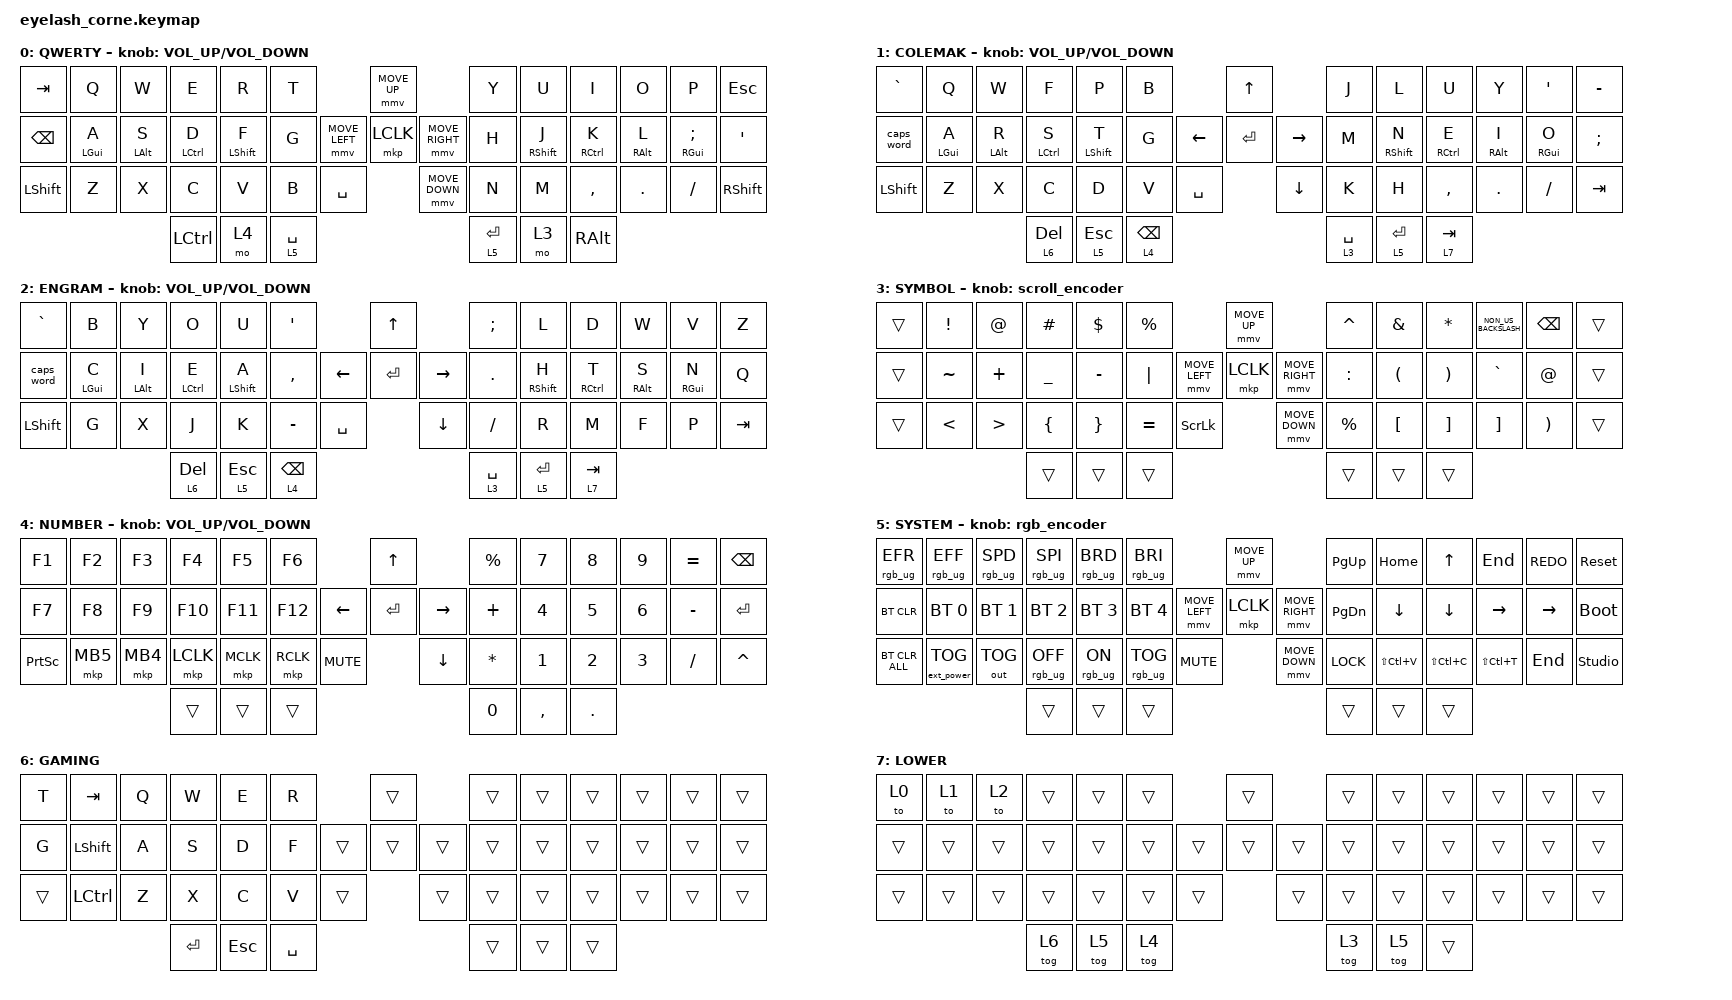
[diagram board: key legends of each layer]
#include <dt-bindings/zmk/mouse.h>
#include <input/processors.dtsi>
#include <behaviors.dtsi>
#include <dt-bindings/zmk/bt.h>
#include <dt-bindings/zmk/ext_power.h>
#include <dt-bindings/zmk/keys.h>
#include <dt-bindings/zmk/outputs.h>
#include <dt-bindings/zmk/pointing.h>
#include <dt-bindings/zmk/rgb.h>

/*

   &mmv_input_listener {
       input-processors = <&zip_xy_scaler 2 1>;
   };

   &msc_input_listener {
       input-processors = <&zip_xy_scaler 2 1>;
   };

 */

#define ZMK_MOUSE_DEFAULT_MOVE_VAL 1200  // 600
#define ZMK_MOUSE_DEFAULT_SCRL_VAL 20    // 10

/ {
    behaviors {
        td0: td0 {
            compatible = "zmk,behavior-tap-dance";
            display-name = "Shift/Caps Lock Tap Dance";
            #binding-cells = <0>;
            bindings = <&kp LEFT_SHIFT>, <&kp CAPS>;
        };

        hrm_left: hrm_left {
            compatible = "zmk,behavior-hold-tap";
            label = "HRM_LEFT";
            bindings = <&kp>, <&kp>;

            #binding-cells = <2>;
            flavor = "balanced";
            tapping-term-ms = <280>;
            quick-tap-ms = <175>;
            require-prior-idle-ms = <150>;
            hold-trigger-on-release;
            hold-trigger-key-positions = <6 7 20 21 22 35 36 45 46 47 8 9 10 11 12 23 24 25 26 27 37 38 39 40 41 19 34 44 43 42>;
        };

        hrm_right: hrm_right {
            compatible = "zmk,behavior-hold-tap";
            label = "HRM_RIGHT";
            bindings = <&kp>, <&kp>;

            #binding-cells = <2>;
            flavor = "balanced";
            tapping-term-ms = <280>;
            quick-tap-ms = <175>;
            require-prior-idle-ms = <150>;
            hold-trigger-on-release;
            hold-trigger-key-positions = <0 1 2 3 4 5 13 14 15 16 17 18 28 29 30 31 32 33 34 42 43 44 19 20 21 35 6 45 46 47>;
        };

        layer_tap: layer_tap {
            compatible = "zmk,behavior-hold-tap";
            label = "LAYER_TAP";
            bindings = <&mo>, <&kp>;

            #binding-cells = <2>;
            quick-tap-ms = <175>;
            flavor = "tap-preferred";
            tapping-term-ms = <280>;
        };
    };

    rgb_encoder: rgb_encoder {
        compatible = "zmk,behavior-sensor-rotate";
        #sensor-binding-cells = <0>;
        bindings = <&rgb_ug RGB_BRI>, <&rgb_ug RGB_BRD>;
    };

    scroll_encoder: scroll_encoder {
        compatible = "zmk,behavior-sensor-rotate";
        #sensor-binding-cells = <0>;
        bindings = <&msc SCRL_DOWN>, <&msc SCRL_UP>;

        tap-ms = <30>;
    };

    keymap {
        compatible = "zmk,keymap";

        qwerty {
            display-name = "QWERTY";
            bindings = <
&kp TAB         &kp Q             &kp W             &kp E              &kp R              &kp T                                            &mmv MOVE_UP                     &kp Y               &kp U               &kp I               &kp O              &kp P                 &kp ESCAPE
&kp BACKSPACE   &hrm_left LGUI A  &hrm_left LALT S  &hrm_left LCTRL D  &hrm_left LSHFT F  &kp G                            &mmv MOVE_LEFT  &mkp LCLK       &mmv MOVE_RIGHT  &kp H               &hrm_right RSHFT J  &hrm_right RCTRL K  &hrm_right RALT L  &hrm_right RGUI SEMI  &kp SQT
&kp LEFT_SHIFT  &kp Z             &kp X             &kp C              &kp V              &kp B               &kp SPACE                    &mmv MOVE_DOWN                   &kp N               &kp M               &kp COMMA           &kp DOT            &kp FSLH              &kp RIGHT_SHIFT
                                                    &kp LEFT_CONTROL   &mo 4              &layer_tap 5 SPACE                                                                &layer_tap 5 ENTER  &mo 3               &kp RIGHT_ALT
            >;

            sensor-bindings = <&inc_dec_kp C_VOLUME_UP C_VOLUME_DOWN>;
        };

        colemak {
            display-name = "COLEMAK";
            bindings = <
&kp GRAVE       &kp Q             &kp W             &kp F                &kp P              &kp B                                          &kp UP                &kp J               &kp L               &kp U               &kp Y              &kp APOS           &kp MINUS
&caps_word      &hrm_left LGUI A  &hrm_left LALT R  &hrm_left LCTRL S    &hrm_left LSHFT T  &kp G                                &kp LEFT  &kp ENTER  &kp RIGHT  &kp M               &hrm_right RSHFT N  &hrm_right RCTRL E  &hrm_right RALT I  &hrm_right RGUI O  &kp SEMI
&kp LEFT_SHIFT  &kp Z             &kp X             &kp C                &kp D              &kp V                   &kp SPACE              &kp DOWN              &kp K               &kp H               &kp COMMA           &kp DOT            &kp FSLH           &kp TAB
                                                    &layer_tap 6 DELETE  &layer_tap 5 ESC   &layer_tap 4 BACKSPACE                                               &layer_tap 3 SPACE  &layer_tap 5 ENTER  &layer_tap 7 TAB
            >;

            sensor-bindings = <&inc_dec_kp C_VOLUME_UP C_VOLUME_DOWN>;
        };

        engram {
            display-name = "ENGRAM";
            bindings = <
&kp GRAVE       &kp B             &kp Y             &kp O                &kp U              &kp APOS                                       &kp UP                &kp SEMI            &kp L               &kp D               &kp W              &kp V              &kp Z
&caps_word      &hrm_left LGUI C  &hrm_left LALT I  &hrm_left LCTRL E    &hrm_left LSHFT A  &kp COMMA                            &kp LEFT  &kp ENTER  &kp RIGHT  &kp DOT             &hrm_right RSHFT H  &hrm_right RCTRL T  &hrm_right RALT S  &hrm_right RGUI N  &kp Q
&kp LEFT_SHIFT  &kp G             &kp X             &kp J                &kp K              &kp MINUS               &kp SPACE              &kp DOWN              &kp FSLH            &kp R               &kp M               &kp F              &kp P              &kp TAB
                                                    &layer_tap 6 DELETE  &layer_tap 5 ESC   &layer_tap 4 BACKSPACE                                               &layer_tap 3 SPACE  &layer_tap 5 ENTER  &layer_tap 7 TAB
            >;

            sensor-bindings = <&inc_dec_kp C_VOLUME_UP C_VOLUME_DOWN>;
        };

        symbol {
            bindings = <
&trans  &kp EXCLAMATION  &kp AT_SIGN       &kp HASH        &kp DOLLAR       &kp PERCENT                                    &mmv MOVE_UP                     &kp CARET    &kp AMPERSAND         &kp ASTERISK           &kp NON_US_BACKSLASH  &kp BACKSPACE          &trans
&trans  &kp TILDE        &kp PLUS          &kp UNDERSCORE  &kp MINUS        &kp PIPE                       &mmv MOVE_LEFT  &mkp LCLK       &mmv MOVE_RIGHT  &kp COLON    &kp LEFT_PARENTHESIS  &kp RIGHT_PARENTHESIS  &kp GRAVE             &kp AT                 &trans
&trans  &kp LESS_THAN    &kp GREATER_THAN  &kp LEFT_BRACE  &kp RIGHT_BRACE  &kp EQUAL    &kp SCROLLLOCK                    &mmv MOVE_DOWN                   &kp PERCENT  &kp LEFT_BRACKET      &kp RIGHT_BRACKET      &kp RIGHT_BRACKET     &kp RIGHT_PARENTHESIS  &trans
                                           &trans          &trans           &trans                                                                          &trans       &trans                &trans
            >;

            label = "SYMBOL";
            sensor-bindings = <&scroll_encoder>;
        };

        number {
            bindings = <
&kp F1           &kp F2    &kp F3    &kp F4     &kp F5     &kp F6                             &kp UP                &kp PERCENT   &kp N7     &kp N8   &kp N9  &kp EQUAL  &kp BACKSPACE
&kp F7           &kp F8    &kp F9    &kp F10    &kp F11    &kp F12                  &kp LEFT  &kp ENTER  &kp RIGHT  &kp PLUS      &kp N4     &kp N5   &kp N6  &kp MINUS  &kp ENTER
&kp PRINTSCREEN  &mkp MB5  &mkp MB4  &mkp LCLK  &mkp MCLK  &mkp RCLK  &kp C_MUTE              &kp DOWN              &kp ASTERISK  &kp N1     &kp N2   &kp N3  &kp FSLH   &kp CARET
                                     &trans     &trans     &trans                                                   &kp N0        &kp COMMA  &kp DOT
            >;

            label = "NUMBER";
            sensor-bindings = <&inc_dec_kp C_VOLUME_UP C_VOLUME_DOWN>;
        };

        system {
            display-name = "SYSTEM";
            bindings = <
&rgb_ug RGB_EFR  &rgb_ug RGB_EFF    &rgb_ug RGB_SPD  &rgb_ug RGB_SPI  &rgb_ug RGB_BRD  &rgb_ug RGB_BRI                                &mmv MOVE_UP                     &kp PAGE_UP    &kp HOME       &kp UP_ARROW    &kp END        &kp K_REDO  &sys_reset
&bt BT_CLR       &bt BT_SEL 0       &bt BT_SEL 1     &bt BT_SEL 2     &bt BT_SEL 3     &bt BT_SEL 4                   &mmv MOVE_LEFT  &mkp LCLK       &mmv MOVE_RIGHT  &kp PAGE_DOWN  &kp DOWN       &kp DOWN_ARROW  &kp RIGHT      &kp RIGHT   &bootloader
&bt BT_CLR_ALL   &ext_power EP_TOG  &out OUT_TOG     &rgb_ug RGB_OFF  &rgb_ug RGB_ON   &rgb_ug RGB_TOG  &kp C_MUTE                    &mmv MOVE_DOWN                   &kp K_LOCK     &kp LS(LC(V))  &kp LS(LC(C))   &kp LS(LC(T))  &kp END     &studio_unlock
                                                     &trans           &trans           &trans                                                                          &trans         &trans         &trans
            >;

            sensor-bindings = <&rgb_encoder>;
        };

        gaming {
            bindings = <
&kp T   &kp TAB    &kp Q  &kp W      &kp E    &kp R                        &trans          &trans  &trans  &trans  &trans  &trans  &trans
&kp G   &kp LSHFT  &kp A  &kp S      &kp D    &kp F                &trans  &trans  &trans  &trans  &trans  &trans  &trans  &trans  &trans
&trans  &kp LCTRL  &kp Z  &kp X      &kp C    &kp V      &trans            &trans          &trans  &trans  &trans  &trans  &trans  &trans
                          &kp ENTER  &kp ESC  &kp SPACE                                    &trans  &trans  &trans
            >;

            label = "GAMING";
        };

        lower {
            bindings = <
&to 0   &to 1   &to 2   &trans  &trans  &trans                    &trans          &trans  &trans  &trans  &trans  &trans  &trans
&trans  &trans  &trans  &trans  &trans  &trans            &trans  &trans  &trans  &trans  &trans  &trans  &trans  &trans  &trans
&trans  &trans  &trans  &trans  &trans  &trans  &trans            &trans          &trans  &trans  &trans  &trans  &trans  &trans
                        &tog 6  &tog 5  &tog 4                                    &tog 3  &tog 5  &trans
            >;

            label = "LOWER";
        };
    };
};
